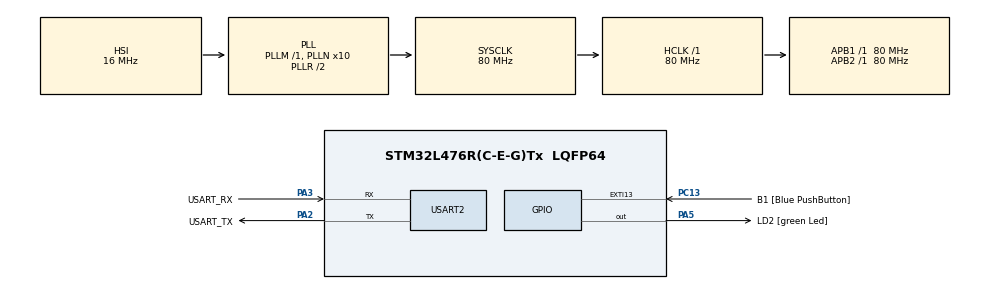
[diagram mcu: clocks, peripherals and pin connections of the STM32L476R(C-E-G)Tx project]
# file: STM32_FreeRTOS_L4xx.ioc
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FREERTOS.Tasks01=defaultTask,0,128,StartDefaultTask,Default,NULL,Dynamic,NULL,NULL
FREERTOS.configCHECK_FOR_STACK_OVERFLOW=1
FREERTOS.configUSE_COUNTING_SEMAPHORES=1
FREERTOS.configUSE_IDLE_HOOK=0
FREERTOS.configUSE_MALLOC_FAILED_HOOK=1
FREERTOS.configUSE_TICK_HOOK=0
Mcu.Family=STM32L4
Mcu.Name=STM32L476R(C-E-G)Tx
Mcu.Package=LQFP64
NVIC.PriorityGroup=NVIC_PRIORITYGROUP_4
NVIC.USART2_IRQn=true\:5\:0\:false\:false\:true\:true\:true\:true\:true
PA13\ (JTMS-SWDIO).GPIO_Label=TMS
PA13\ (JTMS-SWDIO).Mode=Serial_Wire
PA13\ (JTMS-SWDIO).Signal=SYS_JTMS-SWDIO
PA14\ (JTCK-SWCLK).GPIO_Label=TCK
PA14\ (JTCK-SWCLK).Mode=Serial_Wire
PA14\ (JTCK-SWCLK).Signal=SYS_JTCK-SWCLK
PA2.GPIO_Label=USART_TX
PA2.GPIO_Mode=GPIO_MODE_AF_PP
PA2.GPIO_PuPd=GPIO_NOPULL
PA2.GPIO_Speed=GPIO_SPEED_FREQ_VERY_HIGH
PA2.Mode=Asynchronous
PA2.Signal=USART2_TX
PA3.GPIO_Label=USART_RX
PA3.GPIO_Mode=GPIO_MODE_AF_PP
PA3.GPIO_PuPd=GPIO_NOPULL
PA3.GPIO_Speed=GPIO_SPEED_FREQ_VERY_HIGH
PA3.Mode=Asynchronous
PA3.Signal=USART2_RX
PA5.GPIO_Label=LD2 [green Led]
PA5.GPIO_ModeDefaultOutputPP=GPIO_MODE_OUTPUT_PP
PA5.GPIO_PuPd=GPIO_NOPULL
PA5.GPIO_Speed=GPIO_SPEED_FREQ_LOW
PA5.Signal=GPIO_Output
PB3\ (JTDO-TRACESWO).GPIO_Label=SWO
PB3\ (JTDO-TRACESWO).Signal=SYS_JTDO-SWO
PC13.GPIO_Label=B1 [Blue PushButton]
PC13.GPIO_ModeDefaultEXTI=GPIO_MODE_IT_FALLING
PC13.GPIO_PuPd=GPIO_NOPULL
PC13.Signal=GPXTI13
PC14-OSC32_IN\ (PC14).Signal=RCC_OSC32_IN
PC15-OSC32_OUT\ (PC15).Signal=RCC_OSC32_OUT
PH0-OSC_IN\ (PH0).Mode=HSE-External-Oscillator
PH0-OSC_IN\ (PH0).Signal=RCC_OSC_IN
PH1-OSC_OUT\ (PH1).Mode=HSE-External-Oscillator
PH1-OSC_OUT\ (PH1).Signal=RCC_OSC_OUT
ProjectManager.HeapSize=0x200
ProjectManager.StackSize=0x400
ProjectManager.TargetToolchain=STM32CubeIDE
RCC.ADCFreq_Value=64000000
RCC.AHBFreq_Value=80000000
RCC.APB1Freq_Value=80000000
RCC.APB1TimFreq_Value=80000000
RCC.APB2Freq_Value=80000000
RCC.APB2TimFreq_Value=80000000
RCC.CortexFreq_Value=80000000
RCC.HCLKFreq_Value=80000000
RCC.HSE_VALUE=8000000
RCC.HSI_VALUE=16000000
RCC.LSE_VALUE=32768
RCC.MSI_VALUE=4000000
RCC.PLLN=10
RCC.PLLSourceVirtual=RCC_PLLSOURCE_HSI
RCC.PREFETCH_ENABLE=1
RCC.SYSCLKFreq_VALUE=80000000
RCC.SYSCLKSource=RCC_SYSCLKSOURCE_PLLCLK
RCC.USBFreq_Value=64000000
RCC.VCOOutputFreq_Value=160000000
USART2.VirtualMode-Asynchronous=VM_ASYNC
VP_FREERTOS_VS_CMSIS_V1.Mode=CMSIS_V1
VP_RTC_VS_RTC_Activate.Mode=RTC_Enabled
VP_RTC_VS_RTC_Calendar.Mode=RTC_Calendar
board=NUCLEO-L476RG

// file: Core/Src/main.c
/* USER CODE BEGIN Header */
/**
  ******************************************************************************
  * @file           : main.c
  * @brief          : Main program body
  ******************************************************************************
  * @attention
  *
  * Copyright (c) 2025 STMicroelectronics.
  * All rights reserved.
  *
  * This software is licensed under terms that can be found in the LICENSE file
  * in the root directory of this software component.
  * If no LICENSE file comes with this software, it is provided AS-IS.
  *
  ******************************************************************************
  */
/* USER CODE END Header */
#include "main.h"
#include "cmsis_os.h"

/* USER CODE BEGIN Includes */
#include<stdio.h>
#include<string.h>
#include<stdlib.h>
/* USER CODE END Includes */

RTC_HandleTypeDef hrtc;

UART_HandleTypeDef huart2;

osThreadId defaultTaskHandle;
/* USER CODE BEGIN PV */
xSemaphoreHandle binSema;
xQueueHandle     queueID;

TaskHandle_t xTaskHandle1=NULL;
TaskHandle_t xTaskHandle2=NULL;
/* USER CODE END PV */

void SystemClock_Config(void);
static void MX_GPIO_Init(void);
static void MX_USART2_UART_Init(void);
static void MX_RTC_Init(void);
void StartDefaultTask(void const * argument);

/* USER CODE BEGIN 0 */
int __io_putchar(int ch)
{
	HAL_UART_Transmit(&huart2, (uint8_t*)&ch, 1, HAL_MAX_DELAY);
	return ch;
}

void task1Produce(void *para)
{
	unsigned int geneID;
	portBASE_TYPE queueStatus;

	xSemaphoreGive(binSema); // Give semaphore at start

	while(1)
	{
		// Generate random ID (0 to 0x1FF)
		geneID = (rand() & 0x1FF);

		// Send ID to queue (wait if full)
		queueStatus = xQueueSend(queueID, &geneID, portMAX_DELAY);

		if(queueStatus != pdPASS)
		{
			printf("Failed to send ID to queue\n");
		}
		else
		{
			// Release semaphore
			xSemaphoreGive(binSema);
			taskYIELD(); // Yield CPU to allow other tasks to run
		}
	}
}
// Function to process received ID
void ProcessID(unsigned char id)
{
	printf("Received ID : %d\r\n", id);
	// Simulate processing delay
	vTaskDelay(id);
}
void task2Consumer(void *para)
{
	unsigned char recID;
	portBASE_TYPE queueStatus;

	xSemaphoreGive(binSema); // Give semaphore at start

	while(1)
	{
		// Try to take semaphore (non-blocking)
		xSemaphoreTake(binSema, 0);

		// Try to receive ID from queue (non-blocking)
		queueStatus = xQueueReceive(queueID, &recID, 0);

		if(queueStatus == pdPASS)
		{
			ProcessID(recID); // Process ID if received
		}
		else
		{
			printf("Queue is empty\n");
		}
	}
}
/* USER CODE END PFP */

/* Private user code ---------------------------------------------------------*/
/* USER CODE BEGIN 0 */

/* USER CODE END 0 */

int main(void)
{

  /* MCU Configuration--------------------------------------------------------*/

  /* Reset of all peripherals, Initializes the Flash interface and the Systick. */
  HAL_Init();

  /* Configure the system clock */
  SystemClock_Config();

  /* Initialize all configured peripherals */
  MX_GPIO_Init();
  MX_USART2_UART_Init();
  MX_RTC_Init();

  /* Create the thread(s) */
  /* definition and creation of defaultTask */
  osThreadDef(defaultTask, StartDefaultTask, osPriorityNormal, 0, 128);
  defaultTaskHandle = osThreadCreate(osThread(defaultTask), NULL);

  /* USER CODE BEGIN RTOS_THREADS */
  vSemaphoreCreateBinary(binSema); // Create binary semaphore
  queueID = xQueueCreate(1, sizeof(unsigned int)); // Create queue with length 1
  // Check if semaphore and queue were created successfully
  if((binSema != NULL) && (queueID != NULL))
  {
	xTaskCreate(task1Produce, "ProducerTask", configMINIMAL_STACK_SIZE, NULL, 3, NULL); // Create producer
	xTaskCreate(task2Consumer, "ConsumerTask", configMINIMAL_STACK_SIZE, NULL, 1, NULL); // Create consumer
  }
 else
  {
	printf("Queue/Semaphore creation failed\n");
   }
  /* USER CODE END RTOS_THREADS */

  /* Start scheduler */
  osKernelStart();

  /* We should never get here as control is now taken by the scheduler */

  /* Infinite loop */
  while (1)
  {

  }
}

void SystemClock_Config(void)
{
  RCC_OscInitTypeDef RCC_OscInitStruct = {0};
  RCC_ClkInitTypeDef RCC_ClkInitStruct = {0};

  /** Configure the main internal regulator output voltage
  */
  if (HAL_PWREx_ControlVoltageScaling(PWR_REGULATOR_VOLTAGE_SCALE1) != HAL_OK)
  {
    Error_Handler();
  }

  /** Initializes the RCC Oscillators according to the specified parameters
  * in the RCC_OscInitTypeDef structure.
  */
  RCC_OscInitStruct.OscillatorType = RCC_OSCILLATORTYPE_HSI|RCC_OSCILLATORTYPE_LSI;
  RCC_OscInitStruct.HSIState = RCC_HSI_ON;
  RCC_OscInitStruct.HSICalibrationValue = RCC_HSICALIBRATION_DEFAULT;
  RCC_OscInitStruct.LSIState = RCC_LSI_ON;
  RCC_OscInitStruct.PLL.PLLState = RCC_PLL_ON;
  RCC_OscInitStruct.PLL.PLLSource = RCC_PLLSOURCE_HSI;
  RCC_OscInitStruct.PLL.PLLM = 1;
  RCC_OscInitStruct.PLL.PLLN = 10;
  RCC_OscInitStruct.PLL.PLLP = RCC_PLLP_DIV7;
  RCC_OscInitStruct.PLL.PLLQ = RCC_PLLQ_DIV2;
  RCC_OscInitStruct.PLL.PLLR = RCC_PLLR_DIV2;
  if (HAL_RCC_OscConfig(&RCC_OscInitStruct) != HAL_OK)
  {
    Error_Handler();
  }

  /** Initializes the CPU, AHB and APB buses clocks
  */
  RCC_ClkInitStruct.ClockType = RCC_CLOCKTYPE_HCLK|RCC_CLOCKTYPE_SYSCLK
                              |RCC_CLOCKTYPE_PCLK1|RCC_CLOCKTYPE_PCLK2;
  RCC_ClkInitStruct.SYSCLKSource = RCC_SYSCLKSOURCE_PLLCLK;
  RCC_ClkInitStruct.AHBCLKDivider = RCC_SYSCLK_DIV1;
  RCC_ClkInitStruct.APB1CLKDivider = RCC_HCLK_DIV1;
  RCC_ClkInitStruct.APB2CLKDivider = RCC_HCLK_DIV1;

  if (HAL_RCC_ClockConfig(&RCC_ClkInitStruct, FLASH_LATENCY_4) != HAL_OK)
  {
    Error_Handler();
  }
}

static void MX_RTC_Init(void)
{

  RTC_TimeTypeDef sTime = {0};
  RTC_DateTypeDef sDate = {0};

  /** Initialize RTC Only
  */
  hrtc.Instance = RTC;
  hrtc.Init.HourFormat = RTC_HOURFORMAT_24;
  hrtc.Init.AsynchPrediv = 127;
  hrtc.Init.SynchPrediv = 255;
  hrtc.Init.OutPut = RTC_OUTPUT_DISABLE;
  hrtc.Init.OutPutRemap = RTC_OUTPUT_REMAP_NONE;
  hrtc.Init.OutPutPolarity = RTC_OUTPUT_POLARITY_HIGH;
  hrtc.Init.OutPutType = RTC_OUTPUT_TYPE_OPENDRAIN;
  if (HAL_RTC_Init(&hrtc) != HAL_OK)
  {
    Error_Handler();
  }

  /** Initialize RTC and set the Time and Date
  */
  sTime.Hours = 0x0;
  sTime.Minutes = 0x0;
  sTime.Seconds = 0x0;
  sTime.DayLightSaving = RTC_DAYLIGHTSAVING_NONE;
  sTime.StoreOperation = RTC_STOREOPERATION_RESET;
  if (HAL_RTC_SetTime(&hrtc, &sTime, RTC_FORMAT_BCD) != HAL_OK)
  {
    Error_Handler();
  }
  sDate.WeekDay = RTC_WEEKDAY_MONDAY;
  sDate.Month = RTC_MONTH_JANUARY;
  sDate.Date = 0x1;
  sDate.Year = 0x0;

  if (HAL_RTC_SetDate(&hrtc, &sDate, RTC_FORMAT_BCD) != HAL_OK)
  {
    Error_Handler();
  }

}

static void MX_USART2_UART_Init(void)
{

  huart2.Instance = USART2;
  huart2.Init.BaudRate = 115200;
  huart2.Init.WordLength = UART_WORDLENGTH_8B;
  huart2.Init.StopBits = UART_STOPBITS_1;
  huart2.Init.Parity = UART_PARITY_NONE;
  huart2.Init.Mode = UART_MODE_TX_RX;
  huart2.Init.HwFlowCtl = UART_HWCONTROL_NONE;
  huart2.Init.OverSampling = UART_OVERSAMPLING_16;
  huart2.Init.OneBitSampling = UART_ONE_BIT_SAMPLE_DISABLE;
  huart2.AdvancedInit.AdvFeatureInit = UART_ADVFEATURE_NO_INIT;
  if (HAL_UART_Init(&huart2) != HAL_OK)
  {
    Error_Handler();
  }

}

static void MX_GPIO_Init(void)
{
  GPIO_InitTypeDef GPIO_InitStruct = {0};

  /* GPIO Ports Clock Enable */
  __HAL_RCC_GPIOC_CLK_ENABLE();
  __HAL_RCC_GPIOH_CLK_ENABLE();
  __HAL_RCC_GPIOA_CLK_ENABLE();
  __HAL_RCC_GPIOB_CLK_ENABLE();

  /*Configure GPIO pin Output Level */
  HAL_GPIO_WritePin(LD2_GPIO_Port, LD2_Pin, GPIO_PIN_RESET);

  /*Configure GPIO pin : B1_Pin */
  GPIO_InitStruct.Pin = B1_Pin;
  GPIO_InitStruct.Mode = GPIO_MODE_IT_FALLING;
  GPIO_InitStruct.Pull = GPIO_NOPULL;
  HAL_GPIO_Init(B1_GPIO_Port, &GPIO_InitStruct);

  /*Configure GPIO pin : LD2_Pin */
  GPIO_InitStruct.Pin = LD2_Pin;
  GPIO_InitStruct.Mode = GPIO_MODE_OUTPUT_PP;
  GPIO_InitStruct.Pull = GPIO_NOPULL;
  GPIO_InitStruct.Speed = GPIO_SPEED_FREQ_LOW;
  HAL_GPIO_Init(LD2_GPIO_Port, &GPIO_InitStruct);

}

void StartDefaultTask(void const * argument)
{
  for(;;)
  {
    osDelay(1);
  }
}

void Error_Handler(void)
{
  __disable_irq();
  while (1)
  {
  }
}
